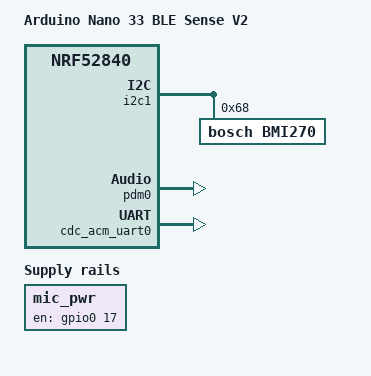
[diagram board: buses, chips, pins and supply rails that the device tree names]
/*
 * Copyright (c) 2020 Jefferson Lee
 *
 * SPDX-License-Identifier: Apache-2.0
 */
/dts-v1/;
#include <nordic/nrf52840_qiaa.dtsi>
#include "arduino_nano_33_ble_v2-common.dtsi"
#include "arduino_nano_33_ble_v2-pinctrl.dtsi"
#include "arduino_nano_r3_connector.dtsi"

/ {
	model = "Arduino Nano 33 BLE Sense V2";
	compatible = "arduino,arduino_nano_33_ble_sense_v2";

	mic_pwr: mic_pwr {
		compatible = "regulator-fixed";
		regulator-name = "mic_pwr";
		enable-gpios = <&gpio0 17 GPIO_ACTIVE_HIGH>;
		regulator-boot-on;
	};

	chosen {
        zephyr,console = &cdc_acm_uart0;
    };
};

&i2c1 {
	bmi270@68 {
	    status = "okay";
		compatible = "bosch,bmi270";
		reg = <0x68>;
	};
};

dmic_dev: &pdm0 {
	status = "okay";
	pinctrl-0 = <&pdm0_default>;
	pinctrl-1 = <&pdm0_sleep>;
	pinctrl-names = "default", "sleep";
	clock-source = "PCLK32M_HFXO";
};

&zephyr_udc0 {
     cdc_acm_uart0: cdc_acm_uart0 {
             compatible = "zephyr,cdc-acm-uart";
             label = "CDC_ACM_0";
     };
};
